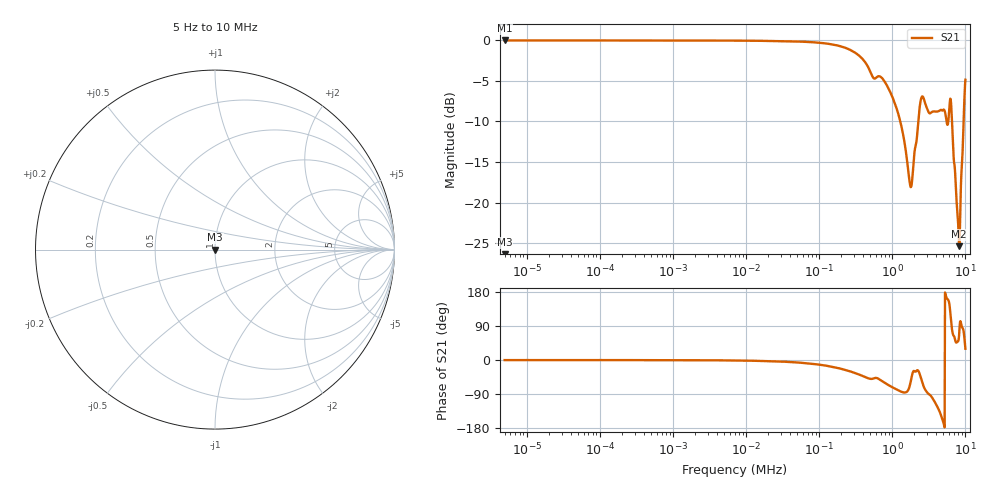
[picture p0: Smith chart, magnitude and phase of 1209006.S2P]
!Agilent Technologies,E5061B,MY49204007,A.02.12
!Date: Fri Sep 12 10:32:15 2025
!Data & Calibration Information:
!Freq	S11:SOLT2(OFF)	S21:SOLT2(OFF)	S12:SOLT2(OFF)	S22:SOLT2(OFF)
# Hz S dB R 50
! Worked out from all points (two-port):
!   1041 points, 5 Hz to 10 MHz, reference 50 ohm
!   highest |S21| = -0.04 dB at 5 Hz (marker M1); lowest = -25.4 dB at 8.198 MHz (marker M2)
!   |S21| within 3 dB of the highest: start of sweep to 449.6 kHz
!   lowest |S11| = - dB at 5 Hz (marker M3), VSWR 1.00, Z = 50 + j0 ohm
!   |S11| at or under -10 dB: start of sweep to end of sweep
!   S12 and S22 are empty: the file has one direction only
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5  -200.00 0.0  -0.04 -0.2  -200.00 0.0  -200.00 0.0
56.522  -200.00 0.0  -0.04 -0.2  -200.00 0.0  -200.00 0.0
632.897  -200.00 0.0  -0.04 -0.3  -200.00 0.0  -200.00 0.0
7154.49  -200.00 0.0  -0.06 -1.3  -200.00 0.0  -200.00 0.0
80111.67  -200.00 0.0  -0.25 -9.9  -200.00 0.0  -200.00 0.0
233923.8  -200.00 0.0  -0.99 -26.8  -200.00 0.0  -200.00 0.0
404113.1  -200.00 0.0  -2.45 -43.1  -200.00 0.0  -200.00 0.0
893075.1  -200.00 0.0  -5.99 -66.5  -200.00 0.0  -200.00 0.0
1300055  -200.00 0.0  -10.17 -83.0  -200.00 0.0  -200.00 0.0
1791890  -200.00 0.0  -18.10 -55.7  -200.00 0.0  -200.00 0.0
2141553  -200.00 0.0  -12.49 -28.9  -200.00 0.0  -200.00 0.0
2502620  -200.00 0.0  -7.09 -51.3  -200.00 0.0  -200.00 0.0
3727860  -200.00 0.0  -8.77 -107.6  -200.00 0.0  -200.00 0.0
5010878  -200.00 0.0  -8.55 -165.1  -200.00 0.0  -200.00 0.0
5773548  -200.00 0.0  -10.30 159.7  -200.00 0.0  -200.00 0.0
6209332  -200.00 0.0  -7.20 126.6  -200.00 0.0  -200.00 0.0
6906588  -200.00 0.0  -14.38 63.8  -200.00 0.0  -200.00 0.0
7717529  -200.00 0.0  -20.90 47.5  -200.00 0.0  -200.00 0.0
8198050  -200.00 0.0  -25.36 64.8  -200.00 0.0  -200.00 0.0
8678570  -200.00 0.0  -18.02 98.9  -200.00 0.0  -200.00 0.0
9038960  -200.00 0.0  -14.74 86.0  -200.00 0.0  -200.00 0.0
1e7  -200.00 0.0  -4.88 29.7  -200.00 0.0  -200.00 0.0
